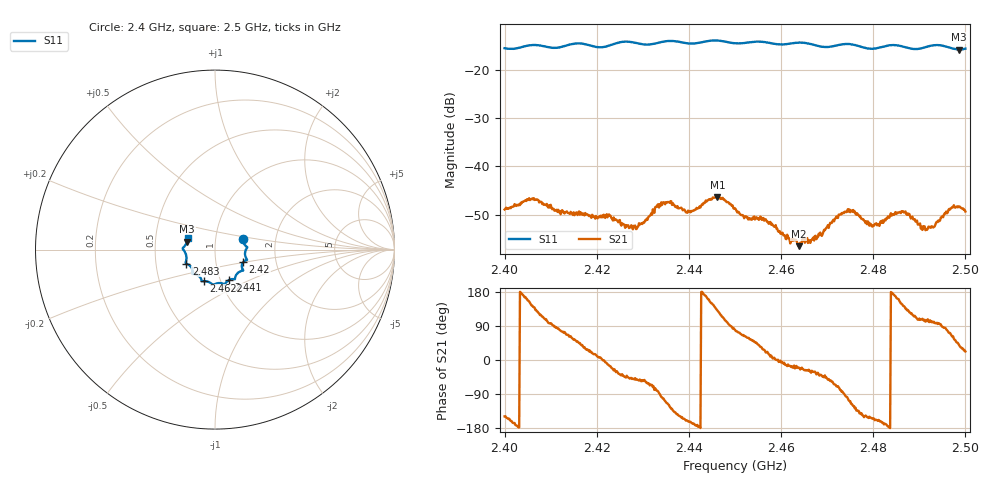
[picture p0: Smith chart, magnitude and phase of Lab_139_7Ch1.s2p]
# Hz S RI R 50
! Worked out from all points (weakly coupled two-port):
!   601 points, 2.4 GHz to 2.5 GHz, reference 50 ohm
!   highest |S21| = -46.34 dB at 2.4462 GHz (marker M1); lowest = -56.5 dB at 2.4638 GHz (marker M2)
!   lowest |S11| = -15.8 dB at 2.4987 GHz (marker M3), VSWR 1.39, Z = 36.4 + j3.32 ohm
!   |S11| at or under -10 dB: start of sweep to end of sweep
!   S12 and S22 are empty: the file has one direction only
!   S11 on the Smith chart (normalised r, x): 2.4 GHz: 1.36, +0.17; 2.42 GHz: 1.36, -0.20; 2.441 GHz: 1.09, -0.39; 2.4622 GHz: 0.83, -0.30; 2.483 GHz: 0.72, -0.12; 2.5 GHz: 0.73, +0.09
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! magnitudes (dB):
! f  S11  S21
! 2.4 GHz  -15.5  -48.9
! 2.4058 GHz  -14.9  -46.8
! 2.4167 GHz  -14.6  -49.8
! 2.42 GHz  -15.3  -50.6
! 2.4283 GHz  -14.4  -52.3
! 2.4333 GHz  -14.4  -47.9
! 2.4357 GHz  -14.0  -47.4
! 2.441 GHz  -14.6  -49.1
! 2.4462 GHz  -13.9  -46.3
! 2.45 GHz  -14.5  -48.7
! 2.4567 GHz  -14.3  -51.0
! 2.4622 GHz  -14.5  -55.2
! 2.4638 GHz  -14.4  -56.5
! 2.4667 GHz  -14.7  -55.2
! 2.4743 GHz  -14.7  -49.4
! 2.4797 GHz  -15.7  -52.4
! 2.483 GHz  -15.0  -50.9
! 2.4833 GHz  -15.0  -50.5
! 2.4867 GHz  -15.3  -49.6
! 2.4918 GHz  -15.2  -52.9
! 2.4987 GHz  -15.8  -48.4
! 2.5 GHz  -15.6  -49.4
